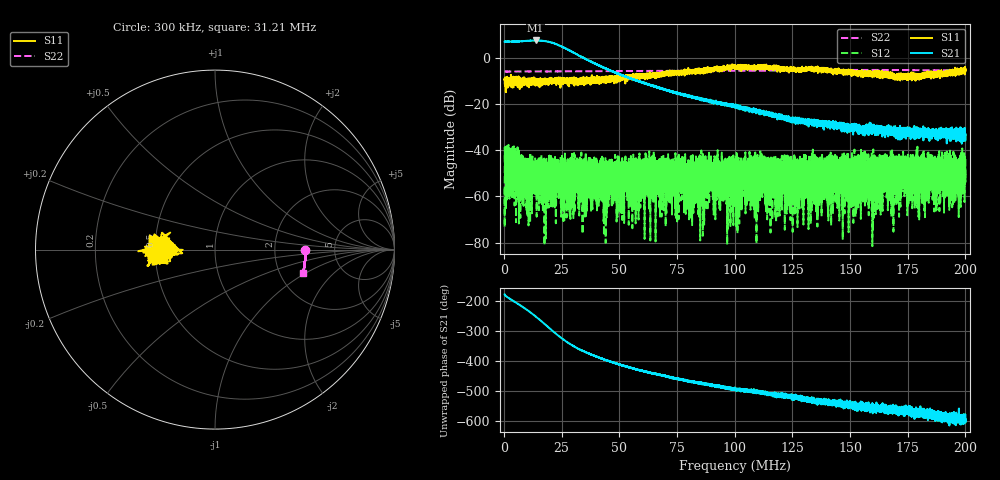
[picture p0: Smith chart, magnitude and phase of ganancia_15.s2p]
# Hz S DB R 50
! CMT, M5065, 19127446, 24.2.4/2
! Date: 10/29/2024 12:08:50 PM
! Data: Format (Calibration Info)
! Freq	S11:dB/Ang(F2)	S21:dB/Ang(F2)	S12:dB/Ang(F2)	S22:dB/Ang(F2)
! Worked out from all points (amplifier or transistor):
!   9000 points, 300 kHz to 200 MHz, reference 50 ohm
!   highest |S21| = 7.5 dB at 13.73 MHz (marker M1)
!   |S21| within 3 dB of that: start of sweep to 25.8 MHz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
!   unconditionally stable (mu >= 1): start of sweep to end of sweep
!   at 33.59 MHz: K = 84.50, MAG = 2.2 dB, |S12| = -48.4 dB
!   at 100.2 MHz: K = 701.80, MAG = -16.6 dB, |S12| = -50.6 dB
!   at 200 MHz: K = 1591.14, MAG = -30.1 dB, |S12| = -43.1 dB
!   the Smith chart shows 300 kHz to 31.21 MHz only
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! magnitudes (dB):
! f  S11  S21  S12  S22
! 300 kHz  -9.6  7.0  -56.6  -6.0
! 1.343 MHz  -10.7  7.0  -49.9  -6.0
! 9.265 MHz  -8.9  7.2  -50.2  -5.9
! 13.73 MHz  -12.1  7.5  -50.3  -5.9
! 17.17 MHz  -9.9  7.3  -62.9  -5.9
! 26.13 MHz  -10.2  4.3  -54.0  -5.9
! 28.37 MHz  -10.9  3.2  -48.2  -5.9
! 30.37 MHz  -9.1  2.2  -49.5  -5.9
! 33.59 MHz  -10.5  0.5  -48.4  -5.9
! 66.87 MHz  -7.3  -13.0  -47.7  -5.7
! 74.51 MHz  -7.2  -15.3  -48.9  -5.7
! 76.11 MHz  -6.1  -15.5  -53.7  -5.6
! 78.81 MHz  -6.0  -16.2  -67.6  -5.6
! 100.2 MHz  -3.2  -20.8  -50.6  -5.6
! 102.2 MHz  -4.1  -21.8  -50.0  -5.6
! 112.1 MHz  -4.7  -23.8  -47.1  -5.6
! 133.4 MHz  -4.8  -27.8  -45.2  -5.3
! 166.7 MHz  -8.4  -32.5  -46.9  -5.3
! 182.9 MHz  -7.5  -30.8  -44.2  -5.4
! 189.1 MHz  -6.4  -34.7  -43.3  -5.4
! 197.1 MHz  -5.0  -33.6  -45.2  -5.5
! 200 MHz  -5.0  -33.2  -43.1  -5.5
